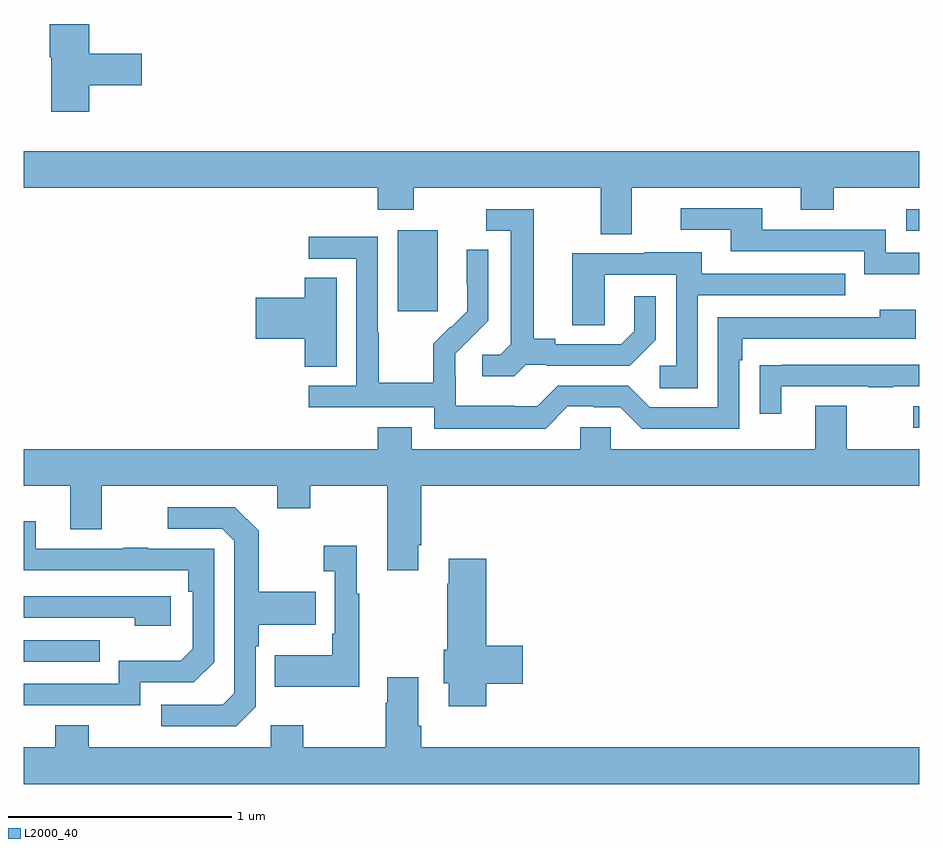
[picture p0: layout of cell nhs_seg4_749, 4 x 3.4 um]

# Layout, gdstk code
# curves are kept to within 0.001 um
import gdstk
lib = gdstk.Library(unit=1e-6, precision=1e-09)
def R(c, l, rs):  # rectangles x0, y0, x1, y1
    for r in rs: c.add(gdstk.rectangle(r[:2], r[2:], *l))
def P(c, l, *ps):  # polygons
    for p in ps: c.add(gdstk.Polygon(p, *l))
L2000_40 = (2000, 40)

nhs_seg4_749 = lib.new_cell('nhs_seg4_749')
R(nhs_seg4_749, L2000_40, [(149,780.051,149.339,780.147), (152.973,781.095,153,781.191), (150.671,781.617,150.85,781.978), (152.943,781.977,153,782.073)])
P(nhs_seg4_749, L2000_40, [(149.291,782.626),(149.527,782.626),(149.527,782.768),(149.291,782.768),(149.291,782.9),(149.116,782.9),(149.116,782.751),(149.123,782.751),(149.123,782.508),(149.291,782.508)],
  [(151.717,782.168),(152.471,782.168),(152.471,782.069),(152.619,782.069),(152.619,782.168),(153,782.168),(153,782.332),(149,782.332),(149,782.168),(150.581,782.168),(150.581,782.069),(150.741,782.069),(150.741,782.168),(151.577,782.168),(151.577,781.96),(151.717,781.96)],
  [(153,781.878),(152.85,781.878),(152.85,781.98),(152.299,781.98),(152.299,782.076),(151.935,782.076),(151.935,781.98),(152.159,781.98),(152.159,781.884),(152.754,781.884),(152.754,781.781),(153,781.781)],
  [(151.242,781.377),(151.336,781.377),(151.336,781.374),(151.708,781.374),(151.824,781.49),(151.824,781.684),(151.727,781.684),(151.727,781.527),(151.67,781.47),(151.375,781.47),(151.375,781.493),(151.279,781.493),(151.279,782.073),(151.065,782.073),(151.065,781.977),(151.175,781.977),(151.175,781.469),(151.128,781.422),(151.047,781.422),(151.047,781.325),(151.19,781.325)],
  [(151.431,781.191),(151.547,781.191),(151.547,781.188),(151.665,781.188),(151.761,781.092),(152.196,781.092),(152.196,781.397),(152.209,781.397),(152.209,781.494),(152.986,781.494),(152.986,781.624),(152.825,781.624),(152.825,781.59),(152.1,781.59),(152.1,781.188),(151.797,781.188),(151.701,781.284),(151.386,781.284),(151.293,781.191),(151.193,781.191),(151.193,781.195),(150.93,781.195),(150.93,781.329),(150.928,781.329),(150.928,781.426),(151.074,781.574),(151.074,781.892),(150.978,781.892),(150.978,781.738),(150.98,781.738),(150.98,781.616),(150.909,781.545),(150.906,781.548),(150.829,781.471),(150.829,781.297),(150.585,781.297),(150.585,781.52),(150.582,781.52),(150.582,781.95),(150.273,781.95),(150.273,781.851),(150.486,781.851),(150.486,781.284),(150.273,781.284),(150.273,781.188),(150.834,781.188),(150.834,781.091),(151.331,781.091)],
  [(152.01,781.689),(152.669,781.689),(152.669,781.785),(152.029,781.785),(152.029,781.879),(151.775,781.879),(151.775,781.875),(151.451,781.875),(151.451,781.555),(151.596,781.555),(151.596,781.779),(151.914,781.779),(151.914,781.374),(151.842,781.374),(151.842,781.273),(152.01,781.273)],
  [(150.397,781.766),(150.254,781.766),(150.254,781.676),(150.036,781.676),(150.036,781.493),(150.254,781.493),(150.254,781.369),(150.397,781.369)],
  [(152.383,781.281),(152.773,781.281),(152.773,781.276),(152.885,781.276),(152.885,781.281),(153,781.281),(153,781.377),(152.389,781.377),(152.389,781.376),(152.287,781.376),(152.287,781.158),(152.383,781.158)],
  [(150.763,780.571),(150.776,780.571),(150.776,780.836),(153,780.836),(153,781),(152.677,781),(152.677,781.195),(152.537,781.195),(152.537,781),(151.623,781),(151.623,781.098),(151.485,781.098),(151.485,781),(150.733,781),(150.733,781.099),(150.581,781.099),(150.581,781),(149,781),(149,780.836),(149.207,780.836),(149.207,780.642),(149.347,780.642),(149.347,780.836),(150.131,780.836),(150.131,780.737),(150.279,780.737),(150.279,780.836),(150.623,780.836),(150.623,780.459),(150.763,780.459)],
  [(150.036,779.85),(150.036,780.119),(150.049,780.119),(150.049,780.215),(150.305,780.215),(150.305,780.363),(150.049,780.363),(150.049,780.635),(149.943,780.741),(149.643,780.741),(149.643,780.645),(149.886,780.645),(149.94,780.591),(149.94,779.91),(149.889,779.859),(149.613,779.859),(149.613,779.763),(149.949,779.763)],
  [(149.52,779.958),(149.76,779.958),(149.85,780.048),(149.85,780.555),(149.555,780.555),(149.555,780.56),(149.443,780.56),(149.443,780.555),(149.053,780.555),(149.053,780.679),(149,780.679),(149,780.46),(149.734,780.459),(149.734,780.362),(149.754,780.362),(149.754,780.108),(149.701,780.055),(149.424,780.055),(149.424,779.952),(149,779.952),(149,779.856),(149.52,779.856)],
  [(150.499,780.355),(150.487,780.355),(150.487,780.568),(150.339,780.568),(150.339,780.455),(150.39,780.455),(150.39,780.175),(150.378,780.175),(150.378,780.079),(150.121,780.079),(150.121,779.939),(150.499,779.939)],
  [(151.067,779.951),(151.228,779.951),(151.228,780.122),(151.067,780.122),(151.067,780.511),(150.899,780.511),(150.899,780.398),(150.892,780.398),(150.892,780.105),(150.875,780.105),(150.875,779.955),(150.899,779.955),(150.899,779.852),(151.067,779.852)],
  [(149.656,780.342),(149,780.342),(149,780.246),(149.495,780.246),(149.495,780.212),(149.656,780.212)],
  [(153,779.668),(150.776,779.668),(150.776,779.764),(150.763,779.764),(150.763,779.98),(150.623,779.98),(150.623,779.867),(150.616,779.867),(150.616,779.668),(150.249,779.668),(150.249,779.767),(150.102,779.767),(150.102,779.668),(149.289,779.668),(149.289,779.767),(149.141,779.767),(149.141,779.668),(149,779.668),(149,779.504),(153,779.504)])

lib.write_gds('nhs_seg4_749.gds')
